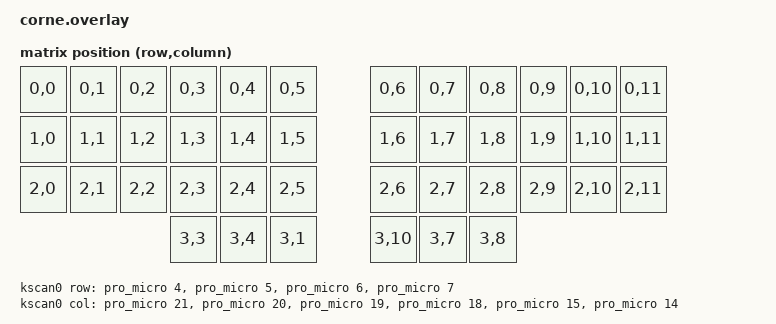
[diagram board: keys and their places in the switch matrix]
/*
 * Corne (CRKBD) ZMK configuration
 * NRF52840 ProMicro
 *
 * Peripherals:
 *   - I2C: SDA (P0.17), SCL (P0.20) — SSD1306 OLED (left side only)
 *   - SPI3: MOSI (P0.06) — free for future use (e.g. Cirque trackpad)
 */

/ {
	chosen {
		zephyr,display = &oled;
		zmk,kscan = &kscan0;
		zmk,matrix_transform = &default_transform;
	};

	default_transform: keymap_transform_0 {
		compatible = "zmk,matrix-transform";
		columns = <12>;
		rows = <4>;
		map = <
RC(0,0) RC(0,1) RC(0,2) RC(0,3) RC(0,4) RC(0,5)  RC(0,6)  RC(0,7) RC(0,8) RC(0,9) RC(0,10) RC(0,11)
RC(1,0) RC(1,1) RC(1,2) RC(1,3) RC(1,4) RC(1,5)  RC(1,6)  RC(1,7) RC(1,8) RC(1,9) RC(1,10) RC(1,11)
RC(2,0) RC(2,1) RC(2,2) RC(2,3) RC(2,4) RC(2,5)  RC(2,6)  RC(2,7) RC(2,8) RC(2,9) RC(2,10) RC(2,11)
                        RC(3,3) RC(3,4) RC(3,1)  RC(3,10) RC(3,7) RC(3,8)
		>;
	};

	kscan0: kscan {
		compatible = "zmk,kscan-gpio-matrix";
		label = "KSCAN";
		diode-direction = "col2row";

		row-gpios
			= <&pro_micro 4 (GPIO_ACTIVE_HIGH | GPIO_PULL_DOWN)>
			, <&pro_micro 5 (GPIO_ACTIVE_HIGH | GPIO_PULL_DOWN)>
			, <&pro_micro 6 (GPIO_ACTIVE_HIGH | GPIO_PULL_DOWN)>
			, <&pro_micro 7 (GPIO_ACTIVE_HIGH | GPIO_PULL_DOWN)>
			;

		col-gpios
			= <&pro_micro 21 GPIO_ACTIVE_HIGH>
			, <&pro_micro 20 GPIO_ACTIVE_HIGH>
			, <&pro_micro 19 GPIO_ACTIVE_HIGH>
			, <&pro_micro 18 GPIO_ACTIVE_HIGH>
			, <&pro_micro 15 GPIO_ACTIVE_HIGH>
			, <&pro_micro 14 GPIO_ACTIVE_HIGH>
			;
	};
};

/* OLED Display - I2C (left side only) */
&pinctrl {
	i2c0_default: i2c0_default {
		group1 {
			psels = <NRF_PSEL(TWIM_SDA, 0, 17)>,
				<NRF_PSEL(TWIM_SCL, 0, 20)>;
		};
	};

	i2c0_sleep: i2c0_sleep {
		group1 {
			psels = <NRF_PSEL(TWIM_SDA, 0, 17)>,
				<NRF_PSEL(TWIM_SCL, 0, 20)>;
			low-power-enable;
		};
	};
};

/* Split input for Cirque trackpad on peripheral (right) side */
/ {
	split_inputs {
		#address-cells = <1>;
		#size-cells = <0>;

		glidepoint_split: glidepoint_split@0 {
			compatible = "zmk,input-split";
			reg = <0>;
		};
	};
};

&pro_micro_i2c {
	status = "okay";

	oled: ssd1306@3c {
		compatible = "solomon,ssd1306fb";
		reg = <0x3c>;
		width = <128>;
		height = <32>;
		segment-offset = <0>;
		page-offset = <0>;
		display-offset = <0>;
		multiplex-ratio = <31>;
		segment-remap;
		com-invdir;
		com-sequential;
		inversion-on;
		prechargep = <0x22>;
	};
};
